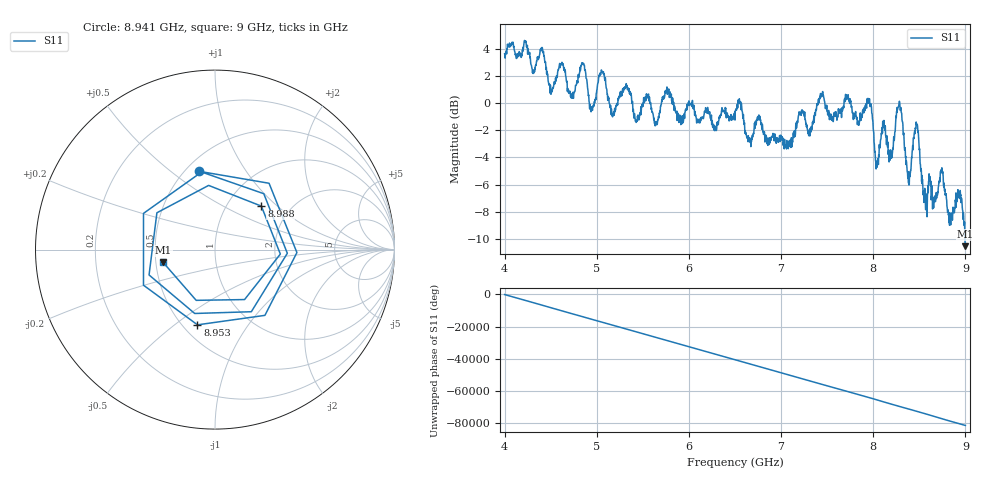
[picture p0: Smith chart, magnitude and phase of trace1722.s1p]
! Created with skrf 1.8.0 (http://scikit-rf.org).
# Hz S RI R 50.0
!freq ReS11 ImS11
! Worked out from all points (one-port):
!   1601 points, 4 GHz to 9 GHz, reference 50 ohm
!   lowest |S11| = -10.5 dB at 9 GHz (marker M1), VSWR 1.85, Z = 27.4 - j4.29 ohm
!   |S11| at or under -10 dB: 8.994966 GHz to end of sweep
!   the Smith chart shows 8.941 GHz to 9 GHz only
!   S11 on the Smith chart (normalised r, x): 8.941 GHz: 0.58, +0.64; 8.953 GHz: 0.59, -0.61; 8.988 GHz: 1.44, +0.80; 9 GHz: 0.55, -0.09
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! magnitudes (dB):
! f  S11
! 4 GHz  3.6
! 4.406 GHz  4.1
! 4.506 GHz  0.9
! 4.625 GHz  2.9
! 4.725 GHz  0.4
! 4.853 GHz  2.9
! 4.944 GHz  -0.3
! 5.05 GHz  2.4
! 5.166 GHz  -0.8
! 5.25 GHz  0.7
! 5.875 GHz  -0.8
! 6.5 GHz  -1.3
! 7.125 GHz  -2.9
! 7.441 GHz  0.6
! 7.75 GHz  0.3
! 7.956 GHz  0.0
! 8.038 GHz  -4.5
! 8.112 GHz  -1.8
! 8.194 GHz  -3.8
! 8.284 GHz  0.1
! 8.375 GHz  -5.5
! 8.469 GHz  -1.6
! 8.562 GHz  -7.1
! 8.738 GHz  -5.1
! 8.941 GHz  -7.0
! 8.953 GHz  -7.3
! 8.988 GHz  -9.0
! 9 GHz  -10.5
